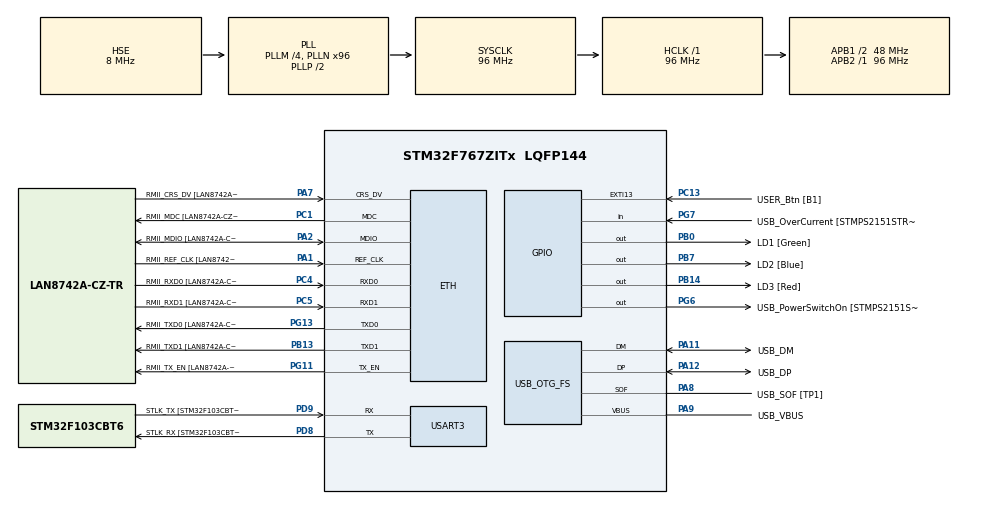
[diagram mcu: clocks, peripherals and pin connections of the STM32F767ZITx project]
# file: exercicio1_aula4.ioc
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ETH.MediaInterface=HAL_ETH_RMII_MODE
ETH.PHY_Name=LAN8742A_PHY_ADDRESS
ETH.PHY_Value=0
ETH.PhyAddress=0
FREERTOS.CountingSemaphores01=Semaforocont,2,Dynamic,NULL,2
FREERTOS.Tasks01=Task01,24,128,Task01Fun,Default,NULL,Dynamic,NULL,NULL;Task02,24,128,Task02Fun,Default,NULL,Dynamic,NULL,NULL;Task03,24,128,Task03Fun,Default,NULL,Dynamic,NULL,NULL
FREERTOS.configUSE_NEWLIB_REENTRANT=1
Mcu.Family=STM32F7
Mcu.Name=STM32F767ZITx
Mcu.Package=LQFP144
NVIC.PriorityGroup=NVIC_PRIORITYGROUP_4
NVIC.TIM1_UP_TIM10_IRQn=true\:15\:0\:false\:false\:true\:false\:false\:true\:true
NVIC.TimeBase=TIM1_UP_TIM10_IRQn
NVIC.TimeBaseIP=TIM1
PA1.GPIO_Label=RMII_REF_CLK [LAN8742A-CZ-TR_REFCLK0]
PA1.Mode=RMII
PA1.Signal=ETH_REF_CLK
PA10.GPIO_Label=USB_ID
PA10.Signal=USB_OTG_FS_ID
PA11.GPIO_Label=USB_DM
PA11.Mode=Device_Only
PA11.Signal=USB_OTG_FS_DM
PA12.GPIO_Label=USB_DP
PA12.Mode=Device_Only
PA12.Signal=USB_OTG_FS_DP
PA13.GPIO_Label=TMS
PA13.Mode=Serial_Wire
PA13.Signal=SYS_JTMS-SWDIO
PA14.GPIO_Label=TCK
PA14.Mode=Serial_Wire
PA14.Signal=SYS_JTCK-SWCLK
PA2.GPIO_Label=RMII_MDIO [LAN8742A-CZ-TR_MDIO]
PA2.Mode=RMII
PA2.Signal=ETH_MDIO
PA7.GPIO_Label=RMII_CRS_DV [LAN8742A-CZ-TR_CRS_DV]
PA7.Mode=RMII
PA7.Signal=ETH_CRS_DV
PA8.GPIO_Label=USB_SOF [TP1]
PA8.Mode=Activate_SOF_FS
PA8.Signal=USB_OTG_FS_SOF
PA9.GPIO_Label=USB_VBUS
PA9.Mode=Activate_VBUS
PA9.Signal=USB_OTG_FS_VBUS
PB0.GPIO_Label=LD1 [Green]
PB0.Signal=GPIO_Output
PB13.GPIO_Label=RMII_TXD1 [LAN8742A-CZ-TR_TXD1]
PB13.Mode=RMII
PB13.Signal=ETH_TXD1
PB14.GPIO_Label=LD3 [Red]
PB14.Signal=GPIO_Output
PB3.GPIO_Label=SWO
PB3.Signal=SYS_JTDO-SWO
PB7.GPIO_Label=LD2 [Blue]
PB7.Signal=GPIO_Output
PC1.GPIO_Label=RMII_MDC [LAN8742A-CZ-TR_MDC]
PC1.Mode=RMII
PC1.Signal=ETH_MDC
PC13.GPIO_Label=USER_Btn [B1]
PC13.Signal=GPXTI13
PC14/OSC32_IN.Mode=LSE-External-Oscillator
PC14/OSC32_IN.Signal=RCC_OSC32_IN
PC15/OSC32_OUT.Mode=LSE-External-Oscillator
PC15/OSC32_OUT.Signal=RCC_OSC32_OUT
PC4.GPIO_Label=RMII_RXD0 [LAN8742A-CZ-TR_RXD0]
PC4.Mode=RMII
PC4.Signal=ETH_RXD0
PC5.GPIO_Label=RMII_RXD1 [LAN8742A-CZ-TR_RXD1]
PC5.Mode=RMII
PC5.Signal=ETH_RXD1
PD8.GPIO_Label=STLK_RX [STM32F103CBT6_PA3]
PD8.Mode=Asynchronous
PD8.Signal=USART3_TX
PD9.GPIO_Label=STLK_TX [STM32F103CBT6_PA2]
PD9.Mode=Asynchronous
PD9.Signal=USART3_RX
PG11.GPIO_Label=RMII_TX_EN [LAN8742A-CZ-TR_TXEN]
PG11.Mode=RMII
PG11.Signal=ETH_TX_EN
PG13.GPIO_Label=RMII_TXD0 [LAN8742A-CZ-TR_TXD0]
PG13.Mode=RMII
PG13.Signal=ETH_TXD0
PG6.GPIO_Label=USB_PowerSwitchOn [STMPS2151STR_EN]
PG6.Signal=GPIO_Output
PG7.GPIO_Label=USB_OverCurrent [STMPS2151STR_FAULT]
PG7.Signal=GPIO_Input
PH0/OSC_IN.GPIO_Label=MCO [STM32F103CBT6_PA8]
PH0/OSC_IN.Mode=HSE-External-Clock-Source
PH0/OSC_IN.Signal=RCC_OSC_IN
PH1/OSC_OUT.Mode=HSE-External-Clock-Source
PH1/OSC_OUT.Signal=RCC_OSC_OUT
ProjectManager.HeapSize=0x200
ProjectManager.StackSize=0x400
ProjectManager.TargetToolchain=STM32CubeIDE
RCC.48MHZClocksFreq_Value=24000000
RCC.AHBFreq_Value=96000000
RCC.APB1CLKDivider=RCC_HCLK_DIV2
RCC.APB1Freq_Value=48000000
RCC.APB1TimFreq_Value=96000000
RCC.APB2Freq_Value=96000000
RCC.APB2TimFreq_Value=96000000
RCC.CortexFreq_Value=96000000
RCC.HCLKFreq_Value=96000000
RCC.HSE_VALUE=8000000
RCC.HSI_VALUE=16000000
RCC.PLLM=4
RCC.PLLMUL=RCC_PLL_MUL9
RCC.PLLN=96
RCC.PLLQ=4
RCC.PRESCALERUSB=RCC_USBCLKSOURCE_PLL_DIV1_5
RCC.SYSCLKFreq_VALUE=96000000
RCC.SYSCLKSource=RCC_SYSCLKSOURCE_PLLCLK
RCC.SYSCLKSourceVirtual=RCC_SYSCLKSOURCE_PLLCLK
RCC.USBFreq_Value=48000000
RCC.VCOOutputFreq_Value=192000000
USART3.VirtualMode-Asynchronous=VM_ASYNC
USB_OTG_FS.VirtualMode=Device_Only
VP_FREERTOS_VS_CMSIS_V2.Mode=CMSIS_V2
VP_SYS_VS_tim1.Mode=TIM1
board=NUCLEO-F767ZI

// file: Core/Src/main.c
/* USER CODE BEGIN Header */
/**
  ******************************************************************************
  * @file           : main.c
  * @brief          : Main program body
  ******************************************************************************
  * @attention
  *
  * Copyright (c) 2025 STMicroelectronics.
  * All rights reserved.
  *
  * This software is licensed under terms that can be found in the LICENSE file
  * in the root directory of this software component.
  * If no LICENSE file comes with this software, it is provided AS-IS.
  *
  ******************************************************************************
  */
/* USER CODE END Header */
#include "main.h"
#include "string.h"
#include "cmsis_os.h"

/* USER CODE BEGIN Includes */
#include <stdio.h>
/* USER CODE END Includes */

#if defined ( __ICCARM__ ) /*!< IAR Compiler */
#pragma location=0x2007c000
ETH_DMADescTypeDef  DMARxDscrTab[ETH_RX_DESC_CNT]; /* Ethernet Rx DMA Descriptors */
#pragma location=0x2007c0a0
ETH_DMADescTypeDef  DMATxDscrTab[ETH_TX_DESC_CNT]; /* Ethernet Tx DMA Descriptors */

#elif defined ( __CC_ARM )  /* MDK ARM Compiler */

__attribute__((at(0x2007c000))) ETH_DMADescTypeDef  DMARxDscrTab[ETH_RX_DESC_CNT]; /* Ethernet Rx DMA Descriptors */
__attribute__((at(0x2007c0a0))) ETH_DMADescTypeDef  DMATxDscrTab[ETH_TX_DESC_CNT]; /* Ethernet Tx DMA Descriptors */

#elif defined ( __GNUC__ ) /* GNU Compiler */

ETH_DMADescTypeDef DMARxDscrTab[ETH_RX_DESC_CNT] __attribute__((section(".RxDecripSection"))); /* Ethernet Rx DMA Descriptors */
ETH_DMADescTypeDef DMATxDscrTab[ETH_TX_DESC_CNT] __attribute__((section(".TxDecripSection")));   /* Ethernet Tx DMA Descriptors */
#endif

ETH_TxPacketConfig TxConfig;

ETH_HandleTypeDef heth;

UART_HandleTypeDef huart3;

PCD_HandleTypeDef hpcd_USB_OTG_FS;

/* Definitions for Task01 */
osThreadId_t Task01Handle;
const osThreadAttr_t Task01_attributes = {
  .name = "Task01",
  .stack_size = 128 * 4,
  .priority = (osPriority_t) osPriorityNormal,
};
/* Definitions for Task02 */
osThreadId_t Task02Handle;
const osThreadAttr_t Task02_attributes = {
  .name = "Task02",
  .stack_size = 128 * 4,
  .priority = (osPriority_t) osPriorityNormal,
};
/* Definitions for Task03 */
osThreadId_t Task03Handle;
const osThreadAttr_t Task03_attributes = {
  .name = "Task03",
  .stack_size = 128 * 4,
  .priority = (osPriority_t) osPriorityNormal,
};
/* Definitions for Semaforocont */
osSemaphoreId_t SemaforocontHandle;
const osSemaphoreAttr_t Semaforocont_attributes = {
  .name = "Semaforocont"
};

void SystemClock_Config(void);
static void MX_GPIO_Init(void);
static void MX_ETH_Init(void);
static void MX_USART3_UART_Init(void);
static void MX_USB_OTG_FS_PCD_Init(void);
void Task01Fun(void *argument);
void Task02Fun(void *argument);
void Task03Fun(void *argument);

int main(void)
{

  /* MCU Configuration--------------------------------------------------------*/

  /* Reset of all peripherals, Initializes the Flash interface and the Systick. */
  HAL_Init();

  /* Configure the system clock */
  SystemClock_Config();

  /* Initialize all configured peripherals */
  MX_GPIO_Init();
  MX_ETH_Init();
  MX_USART3_UART_Init();
  MX_USB_OTG_FS_PCD_Init();

  /* Init scheduler */
  osKernelInitialize();

  /* Create the semaphores(s) */
  /* creation of Semaforocont */
  SemaforocontHandle = osSemaphoreNew(2, 2, &Semaforocont_attributes);

  /* Create the thread(s) */
  /* creation of Task01 */
  Task01Handle = osThreadNew(Task01Fun, NULL, &Task01_attributes);

  /* creation of Task02 */
  Task02Handle = osThreadNew(Task02Fun, NULL, &Task02_attributes);

  /* creation of Task03 */
  Task03Handle = osThreadNew(Task03Fun, NULL, &Task03_attributes);

  /* Start scheduler */
  osKernelStart();

  /* We should never get here as control is now taken by the scheduler */

  /* Infinite loop */
  while (1)
  {

  }
}

void SystemClock_Config(void)
{
  RCC_OscInitTypeDef RCC_OscInitStruct = {0};
  RCC_ClkInitTypeDef RCC_ClkInitStruct = {0};

  /** Configure LSE Drive Capability
  */
  HAL_PWR_EnableBkUpAccess();

  /** Configure the main internal regulator output voltage
  */
  __HAL_RCC_PWR_CLK_ENABLE();
  __HAL_PWR_VOLTAGESCALING_CONFIG(PWR_REGULATOR_VOLTAGE_SCALE3);

  /** Initializes the RCC Oscillators according to the specified parameters
  * in the RCC_OscInitTypeDef structure.
  */
  RCC_OscInitStruct.OscillatorType = RCC_OSCILLATORTYPE_HSE;
  RCC_OscInitStruct.HSEState = RCC_HSE_BYPASS;
  RCC_OscInitStruct.PLL.PLLState = RCC_PLL_ON;
  RCC_OscInitStruct.PLL.PLLSource = RCC_PLLSOURCE_HSE;
  RCC_OscInitStruct.PLL.PLLM = 4;
  RCC_OscInitStruct.PLL.PLLN = 96;
  RCC_OscInitStruct.PLL.PLLP = RCC_PLLP_DIV2;
  RCC_OscInitStruct.PLL.PLLQ = 4;
  RCC_OscInitStruct.PLL.PLLR = 2;
  if (HAL_RCC_OscConfig(&RCC_OscInitStruct) != HAL_OK)
  {
    Error_Handler();
  }

  /** Activate the Over-Drive mode
  */
  if (HAL_PWREx_EnableOverDrive() != HAL_OK)
  {
    Error_Handler();
  }

  /** Initializes the CPU, AHB and APB buses clocks
  */
  RCC_ClkInitStruct.ClockType = RCC_CLOCKTYPE_HCLK|RCC_CLOCKTYPE_SYSCLK
                              |RCC_CLOCKTYPE_PCLK1|RCC_CLOCKTYPE_PCLK2;
  RCC_ClkInitStruct.SYSCLKSource = RCC_SYSCLKSOURCE_PLLCLK;
  RCC_ClkInitStruct.AHBCLKDivider = RCC_SYSCLK_DIV1;
  RCC_ClkInitStruct.APB1CLKDivider = RCC_HCLK_DIV2;
  RCC_ClkInitStruct.APB2CLKDivider = RCC_HCLK_DIV1;

  if (HAL_RCC_ClockConfig(&RCC_ClkInitStruct, FLASH_LATENCY_3) != HAL_OK)
  {
    Error_Handler();
  }
}

static void MX_ETH_Init(void)
{

   static uint8_t MACAddr[6];

  heth.Instance = ETH;
  MACAddr[0] = 0x00;
  MACAddr[1] = 0x80;
  MACAddr[2] = 0xE1;
  MACAddr[3] = 0x00;
  MACAddr[4] = 0x00;
  MACAddr[5] = 0x00;
  heth.Init.MACAddr = &MACAddr[0];
  heth.Init.MediaInterface = HAL_ETH_RMII_MODE;
  heth.Init.TxDesc = DMATxDscrTab;
  heth.Init.RxDesc = DMARxDscrTab;
  heth.Init.RxBuffLen = 1524;

  if (HAL_ETH_Init(&heth) != HAL_OK)
  {
    Error_Handler();
  }

  memset(&TxConfig, 0 , sizeof(ETH_TxPacketConfig));
  TxConfig.Attributes = ETH_TX_PACKETS_FEATURES_CSUM | ETH_TX_PACKETS_FEATURES_CRCPAD;
  TxConfig.ChecksumCtrl = ETH_CHECKSUM_IPHDR_PAYLOAD_INSERT_PHDR_CALC;
  TxConfig.CRCPadCtrl = ETH_CRC_PAD_INSERT;

}

static void MX_USART3_UART_Init(void)
{

  huart3.Instance = USART3;
  huart3.Init.BaudRate = 115200;
  huart3.Init.WordLength = UART_WORDLENGTH_8B;
  huart3.Init.StopBits = UART_STOPBITS_1;
  huart3.Init.Parity = UART_PARITY_NONE;
  huart3.Init.Mode = UART_MODE_TX_RX;
  huart3.Init.HwFlowCtl = UART_HWCONTROL_NONE;
  huart3.Init.OverSampling = UART_OVERSAMPLING_16;
  huart3.Init.OneBitSampling = UART_ONE_BIT_SAMPLE_DISABLE;
  huart3.AdvancedInit.AdvFeatureInit = UART_ADVFEATURE_NO_INIT;
  if (HAL_UART_Init(&huart3) != HAL_OK)
  {
    Error_Handler();
  }

}

static void MX_USB_OTG_FS_PCD_Init(void)
{

  hpcd_USB_OTG_FS.Instance = USB_OTG_FS;
  hpcd_USB_OTG_FS.Init.dev_endpoints = 6;
  hpcd_USB_OTG_FS.Init.speed = PCD_SPEED_FULL;
  hpcd_USB_OTG_FS.Init.dma_enable = DISABLE;
  hpcd_USB_OTG_FS.Init.phy_itface = PCD_PHY_EMBEDDED;
  hpcd_USB_OTG_FS.Init.Sof_enable = ENABLE;
  hpcd_USB_OTG_FS.Init.low_power_enable = DISABLE;
  hpcd_USB_OTG_FS.Init.lpm_enable = DISABLE;
  hpcd_USB_OTG_FS.Init.vbus_sensing_enable = ENABLE;
  hpcd_USB_OTG_FS.Init.use_dedicated_ep1 = DISABLE;
  if (HAL_PCD_Init(&hpcd_USB_OTG_FS) != HAL_OK)
  {
    Error_Handler();
  }

}

static void MX_GPIO_Init(void)
{
  GPIO_InitTypeDef GPIO_InitStruct = {0};

  /* GPIO Ports Clock Enable */
  __HAL_RCC_GPIOC_CLK_ENABLE();
  __HAL_RCC_GPIOH_CLK_ENABLE();
  __HAL_RCC_GPIOA_CLK_ENABLE();
  __HAL_RCC_GPIOB_CLK_ENABLE();
  __HAL_RCC_GPIOD_CLK_ENABLE();
  __HAL_RCC_GPIOG_CLK_ENABLE();

  /*Configure GPIO pin Output Level */
  HAL_GPIO_WritePin(GPIOB, LD1_Pin|LD3_Pin|LD2_Pin, GPIO_PIN_RESET);

  /*Configure GPIO pin Output Level */
  HAL_GPIO_WritePin(USB_PowerSwitchOn_GPIO_Port, USB_PowerSwitchOn_Pin, GPIO_PIN_RESET);

  /*Configure GPIO pin : USER_Btn_Pin */
  GPIO_InitStruct.Pin = USER_Btn_Pin;
  GPIO_InitStruct.Mode = GPIO_MODE_IT_RISING;
  GPIO_InitStruct.Pull = GPIO_NOPULL;
  HAL_GPIO_Init(USER_Btn_GPIO_Port, &GPIO_InitStruct);

  /*Configure GPIO pins : LD1_Pin LD3_Pin LD2_Pin */
  GPIO_InitStruct.Pin = LD1_Pin|LD3_Pin|LD2_Pin;
  GPIO_InitStruct.Mode = GPIO_MODE_OUTPUT_PP;
  GPIO_InitStruct.Pull = GPIO_NOPULL;
  GPIO_InitStruct.Speed = GPIO_SPEED_FREQ_LOW;
  HAL_GPIO_Init(GPIOB, &GPIO_InitStruct);

  /*Configure GPIO pin : USB_PowerSwitchOn_Pin */
  GPIO_InitStruct.Pin = USB_PowerSwitchOn_Pin;
  GPIO_InitStruct.Mode = GPIO_MODE_OUTPUT_PP;
  GPIO_InitStruct.Pull = GPIO_NOPULL;
  GPIO_InitStruct.Speed = GPIO_SPEED_FREQ_LOW;
  HAL_GPIO_Init(USB_PowerSwitchOn_GPIO_Port, &GPIO_InitStruct);

  /*Configure GPIO pin : USB_OverCurrent_Pin */
  GPIO_InitStruct.Pin = USB_OverCurrent_Pin;
  GPIO_InitStruct.Mode = GPIO_MODE_INPUT;
  GPIO_InitStruct.Pull = GPIO_NOPULL;
  HAL_GPIO_Init(USB_OverCurrent_GPIO_Port, &GPIO_InitStruct);

}

uint8_t cont;
char msg2[30] = "Cont:  ...\r\n";
/* USER CODE END 4 */

/* USER CODE BEGIN Header_task01_fun */
/* USER CODE END Header_task01fun */
void Task01Fun(void *argument)
{
  /* USER CODE BEGIN 5 */
  /* Infinite loop */
  char msg[] = "Executando Task1...\r\n";

	  for(;;)
	  {
		osSemaphoreAcquire(SemaforocontHandle, osWaitForever);
		cont = osSemaphoreGetCount(SemaforocontHandle);

		HAL_UART_Transmit(&huart3, (uint8_t*)msg, strlen(msg), HAL_MAX_DELAY);

		//cont = osSemaphoreGetCount(SemaforocontHandle);
		osDelay(500);
	  }
  /* USER CODE END 5 */
}

void Task02Fun(void *argument)
{
  /* USER CODE BEGIN Task02Fun */
  /* Infinite loop */
	char msg[] = "Executando Task2 ...\r\n";
	  for(;;)
	  {
		osSemaphoreAcquire(SemaforocontHandle, osWaitForever);
		cont = osSemaphoreGetCount(SemaforocontHandle);

		//HAL_GPIO_TogglePin(GPIOB, LD2_Pin);

		HAL_UART_Transmit(&huart3, (uint8_t*)msg, strlen(msg), HAL_MAX_DELAY);

		//osSemaphoreRelease(SemaforocontHandle);
		//cont = osSemaphoreGetCount(SemaforocontHandle);

	    osDelay(500);
	  }
  /* USER CODE END Task02Fun */
}

void Task03Fun(void *argument)
{
  /* USER CODE BEGIN Task03Fun */
  /* Infinite loop */
	char msg[] = "Executando Task3...\r\n";
	  for(;;)
	  {
		osSemaphoreAcquire(SemaforocontHandle, osWaitForever);
		cont = osSemaphoreGetCount(SemaforocontHandle);

		HAL_UART_Transmit(&huart3, (uint8_t*)msg, strlen(msg), HAL_MAX_DELAY);

		//osSemaphoreRelease(SemaforocontHandle);
//		cont = osSemaphoreGetCount(SemaforocontHandle);

	    osDelay(500);
	  }
  /* USER CODE END Task03Fun */
}

/**
  * @brief  Period elapsed callback in non blocking mode
  * @note   This function is called  when TIM1 interrupt took place, inside
  * HAL_TIM_IRQHandler(). It makes a direct call to HAL_IncTick() to increment
  * a global variable "uwTick" used as application time base.
  * @param  htim : TIM handle
  * @retval None
  */c
void HAL_TIM_PeriodElapsedCallback(TIM_HandleTypeDef *htim)
{
  if (htim->Instance == TIM1)
  {
    HAL_IncTick();
  }
}

void Error_Handler(void)
{
  __disable_irq();
  while (1)
  {
  }
}
